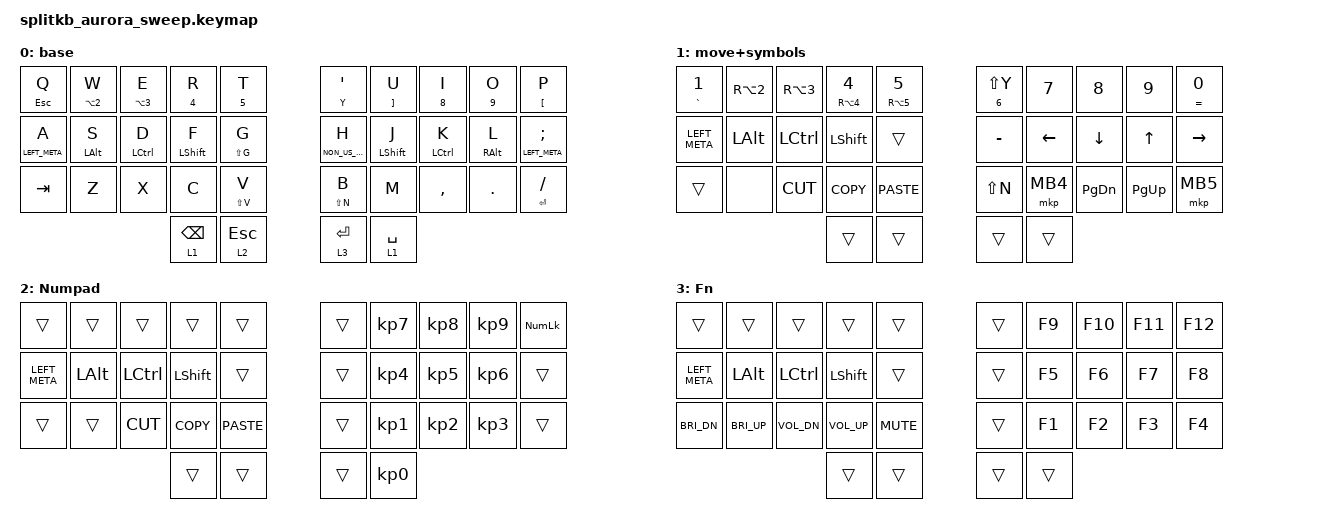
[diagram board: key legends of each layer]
/*
 * Copyright (c) 2022 The ZMK Contributors
 *
 * SPDX-License-Identifier: MIT
 */

#include <behaviors.dtsi>
#include <dt-bindings/zmk/keys.h>
#include <dt-bindings/zmk/mouse.h>

&mt {
    flavor = "tap-preferred";
    tapping-term-ms = <200>;
};

/ {
    combos {
        compatible = "zmk,combos";

        arobase {
            bindings = <&kp NUMBER_6>;
            key-positions = <5 15>;
        };

        back2base {
            bindings = <&to 0>;
            key-positions = <0 1>;
        };
    };

    keymap {
        compatible = "zmk,keymap";

        base {
            bindings = <
&mt ESCAPE Q     &mt LA(N2) W    &mt LA(N3) E        &mt N4 R          &mt N5 T       &mt Y SQT          &mt RIGHT_BRACKET U  &mt NUMBER_8 I  &mt N9 O         &mt LEFT_BRACKET P
&mt LEFT_META A  &mt LEFT_ALT S  &mt LEFT_CONTROL D  &mt LEFT_SHIFT F  &mt LS(G) G    &mt NON_US_HASH H  &mt LEFT_SHIFT J     &mt LCTRL K     &mt RIGHT_ALT L  &mt LEFT_META SEMICOLON
&kp TAB          &kp Z           &kp X               &kp C             &mt LS(V) V    &mt LS(N) B        &kp M                &kp COMMA       &kp DOT          &mt ENTER SLASH
&lt 1 BACKSPACE  &lt 2 ESCAPE                                                                                                                 &lt 3 ENTER      &lt 1 SPACE
            >;
        };

        move+symbols {
            bindings = <
&mt GRAVE NUMBER_1  &kp RA(NUMBER_2)  &kp RA(NUMBER_3)  &mt RA(NUMBER_4) NUMBER_4  &mt RA(N5) N5    &mt NUMBER_6 LS(Y)  &kp N7    &kp N8         &kp N9        &mt EQUAL N0
&kp LEFT_META       &kp LEFT_ALT      &kp LEFT_CONTROL  &kp LEFT_SHIFT             &trans           &kp MINUS           &kp LEFT  &kp DOWN       &kp UP_ARROW  &kp RIGHT
&trans              &none             &kp K_CUT         &kp K_COPY                 &kp K_PASTE      &kp LS(N)           &mkp MB4  &kp PAGE_DOWN  &kp PG_UP     &mkp MB5
&trans              &trans                                                                                                                       &trans        &trans
            >;
        };

        Numpad {
            bindings = <
&trans         &trans        &trans            &trans          &trans         &trans  &kp KP_NUMBER_7  &kp KP_NUMBER_8  &kp KP_NUMBER_9  &kp KP_NUMLOCK
&kp LEFT_META  &kp LEFT_ALT  &kp LEFT_CONTROL  &kp LEFT_SHIFT  &trans         &trans  &kp KP_NUMBER_4  &kp KP_NUMBER_5  &kp KP_NUMBER_6  &trans
&trans         &trans        &kp K_CUT         &kp K_COPY      &kp K_PASTE    &trans  &kp KP_NUMBER_1  &kp KP_NUMBER_2  &kp KP_NUMBER_3  &trans
&trans         &trans                                                                                                   &trans           &kp KP_NUMBER_0
            >;
        };

        Fn {
            bindings = <
&trans         &trans        &trans            &trans          &trans        &trans  &kp F9  &kp F10  &kp F11  &kp F12
&kp LEFT_META  &kp LEFT_ALT  &kp LEFT_CONTROL  &kp LEFT_SHIFT  &trans        &trans  &kp F5  &kp F6   &kp F7   &kp F8
&kp C_BRI_DN   &kp C_BRI_UP  &kp K_VOL_DN      &kp K_VOL_UP    &kp K_MUTE    &trans  &kp F1  &kp F2   &kp F3   &kp F4
&trans         &trans                                                                                 &trans   &trans
            >;
        };
    };
};
